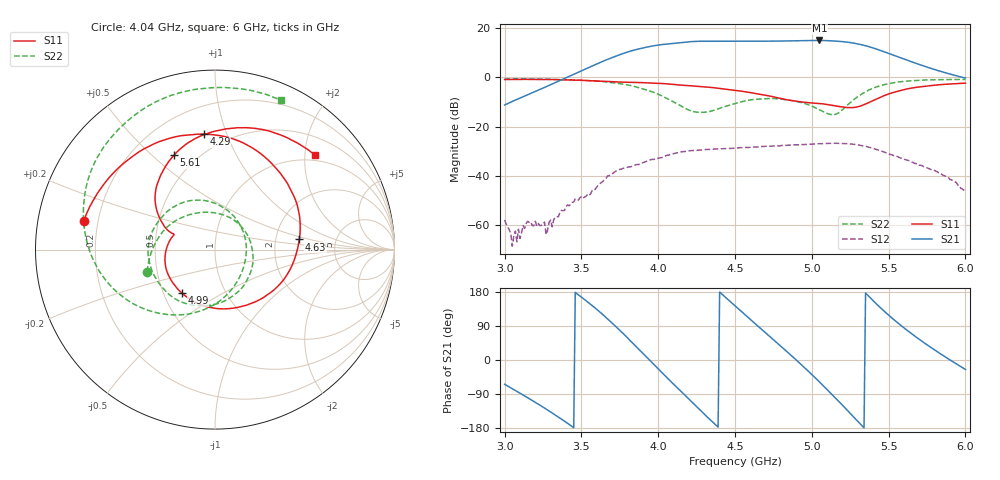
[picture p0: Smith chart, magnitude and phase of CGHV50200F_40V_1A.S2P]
!Agilent Technologies,E5071C,MY46110325,A.11.31
!Date: Thu Jun 26 16:34:28 2014
!Data & Calibration Information:
!Freq	S11:SOLT2(ON)	S21:SOLT2(ON)	S12:SOLT2(ON)	S22:SOLT2(ON)
!PortZ  Port1:50+j0  Port2:50+j0
!Above PortZ is port z conversion or system Z0 setting when saving the data.
!When reading, reference impedance value at option line is always used.
# Hz S dB R 50
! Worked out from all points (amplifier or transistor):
!   301 points, 3 GHz to 6 GHz, reference 50 ohm
!   highest |S21| = 15.0 dB at 5.05 GHz (marker M1)
!   |S21| within 3 dB of that: 3.903 GHz to 5.397 GHz (1.494 GHz wide, 32.1 % of centre)
!   unconditionally stable (mu >= 1): start of sweep to end of sweep
!   at 3.5 GHz: K = 5.57, MAG = 15.1 dB, |S12| = -48.4 dB
!   at 4.5 GHz: K = 1.76, MAG = 16.6 dB, |S12| = -28.7 dB
!   at 6 GHz: K = 7.99, MAG = 10.9 dB, |S12| = -46.1 dB
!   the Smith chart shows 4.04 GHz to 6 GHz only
!   S11 on the Smith chart (normalised r, x): 4.04 GHz: 0.15, +0.10; 4.29 GHz: 0.38, +0.83; 4.63 GHz: 2.73, +0.40; 4.99 GHz: 0.62, -0.33; 5.61 GHz: 0.38, +0.59; 6 GHz: 0.86, +2.21
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3e9  -0.85 130.5  -11.19 -64.1  -57.87 -26.3  -0.65 148.8
3.5e9  -1.17 10.4  2.67 166.0  -48.42 129.2  -1.16 30.6
3.65e9  -1.58 -40.7  6.82 116.0  -41.55 79.6  -1.74 -11.3
3.79e9  -1.95 -96.0  10.12 62.5  -36.66 5.3  -2.94 -57.0
3.91e9  -2.16 -144.3  12.11 13.4  -34.41 -48.7  -4.84 -103.1
4e9  -2.35 -178.2  13.15 -23.7  -32.88 -87.6  -6.81 -142.2
4.04e9  -2.52 167.9  13.45 -40.0  -32.10 -103.0  -8.01 -161.9
4.17e9  -3.22 128.1  14.31 -91.3  -30.09 -160.9  -12.35 126.1
4.29e9  -3.79 95.7  14.69 -139.2  -29.44 148.6  -14.20 40.7
4.39e9  -4.39 69.7  14.70 -176.9  -28.97 109.3  -12.77 -27.3
4.5e9  -5.27 41.8  14.69 143.2  -28.72 68.3  -10.60 -82.1
4.63e9  -6.50 6.9  14.70 96.3  -28.26 21.1  -8.93 -136.4
4.83e9  -8.97 -60.4  14.81 25.0  -27.60 -52.0  -9.05 153.9
4.99e9  -10.33 -127.4  14.98 -34.4  -27.14 -111.1  -11.41 96.3
5e9  -10.36 -131.8  14.99 -38.3  -27.06 -114.6  -11.67 91.6
5.05e9  -10.59 -152.7  15.02 -57.9  -26.93 -134.1  -13.15 66.0
5.16e9  -11.62 172.6  14.73 -102.6  -26.75 -178.2  -14.88 -22.3
5.28e9  -12.16 159.3  13.85 -153.6  -27.21 130.6  -8.71 -107.4
5.4e9  -9.39 152.1  11.96 156.2  -28.81 80.0  -4.34 -158.9
5.5e9  -6.72 135.9  9.75 118.4  -30.99 42.0  -2.54 168.7
5.61e9  -4.83 113.4  7.24 81.6  -33.40 6.0  -1.54 139.8
6e9  -2.31 43.6  -0.25 -24.8  -46.14 -93.0  -0.83 66.3
